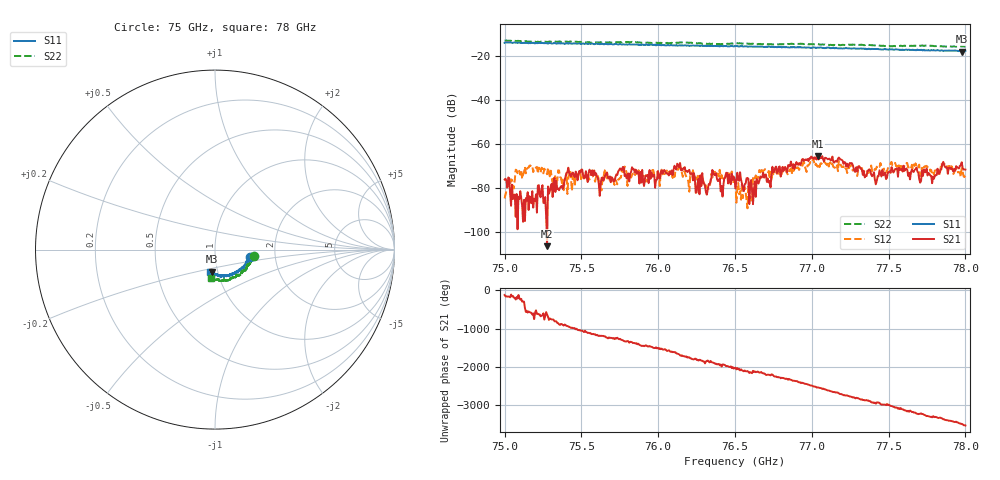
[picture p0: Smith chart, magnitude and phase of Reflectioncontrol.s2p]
# Hz S MA R 50
! CMT, C4420, 21421029, 25.1.2/3
! Date: 8/7/2025 12:57:24 PM
! Data: Format (Calibration Info)
! Freq	S33:Mag/Ang(F2)	S43:Mag/Ang(F2)	S34:Mag/Ang(F2)	S44:Mag/Ang(F2)
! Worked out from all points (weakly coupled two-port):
!   500 points, 75 GHz to 78 GHz, reference 50 ohm
!   highest |S21| = -65.63 dB at 77.038 GHz (marker M1); lowest = -106.6 dB at 75.277 GHz (marker M2)
!   lowest |S11| = -18.1 dB at 77.976 GHz (marker M3), VSWR 1.28, Z = 46.9 - j11.8 ohm
!   |S11| at or under -10 dB: start of sweep to end of sweep
!   |S22| runs from -15.9 to -13.1 dB; largest |S21 - S12| = 0.00039
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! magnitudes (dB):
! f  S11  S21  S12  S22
! 75 GHz  -14.1  -76.3  -84.9  -13.1
! 75.084 GHz  -14.2  -99.0  -73.4  -13.2
! 75.277 GHz  -14.3  -106.6  -73.9  -13.7
! 75.505 GHz  -14.5  -71.8  -76.2  -13.8
! 75.619 GHz  -14.7  -83.8  -77.2  -13.9
! 76.004 GHz  -15.2  -75.5  -73.8  -14.1
! 76.13 GHz  -15.3  -69.9  -71.5  -14.1
! 76.257 GHz  -15.4  -77.9  -74.6  -14.4
! 76.323 GHz  -15.3  -80.7  -80.2  -14.6
! 76.365 GHz  -15.5  -74.3  -73.7  -14.6
! 76.413 GHz  -15.6  -79.2  -74.3  -14.7
! 76.473 GHz  -15.6  -78.5  -73.7  -14.4
! 76.503 GHz  -15.7  -80.4  -78.0  -14.3
! 76.719 GHz  -15.8  -77.7  -72.4  -14.8
! 76.756 GHz  -16.1  -72.9  -72.6  -14.8
! 77.002 GHz  -16.3  -66.4  -68.4  -14.7
! 77.038 GHz  -16.3  -65.6  -70.5  -14.7
! 77.423 GHz  -17.0  -77.0  -70.5  -15.3
! 77.501 GHz  -17.2  -73.0  -70.7  -15.6
! 77.79 GHz  -17.6  -74.9  -73.0  -15.5
! 77.976 GHz  -18.1  -68.5  -71.2  -15.7
! 78 GHz  -17.8  -71.8  -74.6  -15.9
